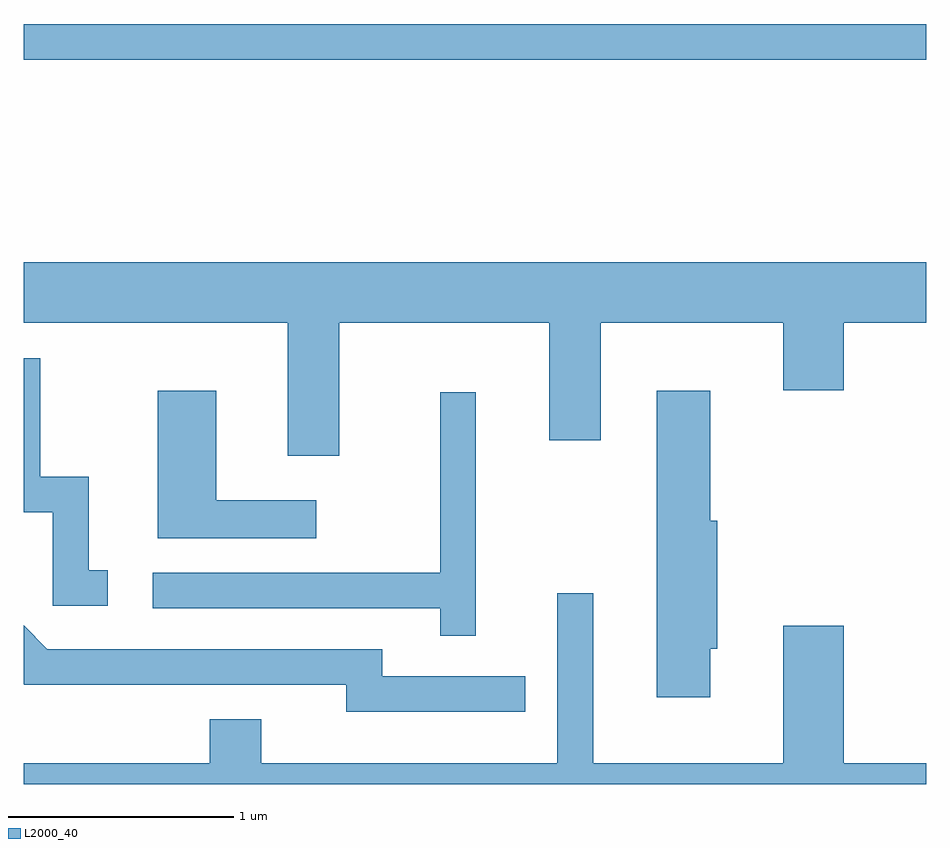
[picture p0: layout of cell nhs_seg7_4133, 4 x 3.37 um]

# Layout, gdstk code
import gdstk
lib = gdstk.Library(unit=1e-6, precision=1e-09)
def R(c, l, rs):  # rectangles x0, y0, x1, y1
    for r in rs: c.add(gdstk.rectangle(r[:2], r[2:], *l))
def P(c, l, *ps):  # polygons
    for p in ps: c.add(gdstk.Polygon(p, *l))
L2000_40 = (2000, 40)

nhs_seg7_4133 = lib.new_cell('nhs_seg7_4133')
R(nhs_seg7_4133, L2000_40, [(311.611,1735.461,315.611,1735.619)])
P(nhs_seg7_4133, L2000_40, [(313.009,1734.296),(313.941,1734.296),(313.941,1733.776),(314.169,1733.776),(314.169,1734.296),(314.976,1734.296),(314.976,1733.996),(315.244,1733.996),(315.244,1734.296),(315.611,1734.296),(315.611,1734.564),(311.611,1734.564),(311.611,1734.296),(312.781,1734.296),(312.781,1733.706),(313.009,1733.706)],
  [(311.983,1733.199),(311.899,1733.199),(311.899,1733.614),(311.684,1733.614),(311.684,1734.139),(311.611,1734.139),(311.611,1733.456),(311.741,1733.456),(311.741,1733.041),(311.983,1733.041)],
  [(312.908,1733.509),(312.464,1733.509),(312.464,1733.994),(312.206,1733.994),(312.206,1733.341),(312.908,1733.341)],
  [(314.654,1732.851),(314.684,1732.851),(314.684,1733.419),(314.654,1733.419),(314.654,1733.994),(314.416,1733.994),(314.416,1732.636),(314.654,1732.636)],
  [(313.614,1733.988),(313.456,1733.988),(313.456,1733.189),(312.183,1733.189),(312.183,1733.031),(313.456,1733.031),(313.456,1732.908),(313.614,1732.908)],
  [(315.611,1732.344),(315.244,1732.344),(315.244,1732.954),(314.976,1732.954),(314.976,1732.344),(314.134,1732.344),(314.134,1733.098),(313.976,1733.098),(313.976,1732.344),(312.664,1732.344),(312.664,1732.539),(312.436,1732.539),(312.436,1732.344),(311.611,1732.344),(311.611,1732.252),(315.611,1732.252)],
  [(313.833,1732.729),(313.199,1732.729),(313.199,1732.849),(311.717,1732.849),(311.611,1732.955),(311.611,1732.694),(311.614,1732.691),(313.041,1732.691),(313.041,1732.571),(313.833,1732.571)])

lib.write_gds('nhs_seg7_4133.gds')
